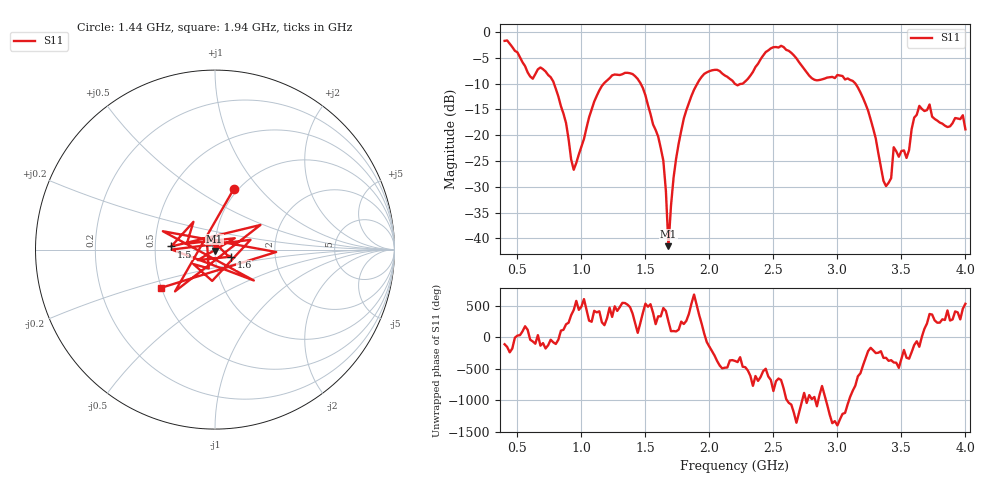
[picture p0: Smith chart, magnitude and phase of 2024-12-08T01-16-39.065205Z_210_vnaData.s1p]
!Created with skrf (http://scikit-rf.org).
# Hz S RI R 50.0
!freq ReS11 ImS11
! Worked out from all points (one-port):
!   181 points, 400 MHz to 4 GHz, reference 50 ohm
!   lowest |S11| = -41.5 dB at 1.68 GHz (marker M1), VSWR 1.02, Z = 49.8 - j0.804 ohm
!   |S11| at or under -10 dB: 786.2 MHz to 1.174 GHz (388.1 MHz wide, 39.6 % of centre); 1.463 GHz to 1.905 GHz (441.9 MHz wide, 26.2 % of centre); 3.142 GHz to end of sweep (the widest 3 of 4)
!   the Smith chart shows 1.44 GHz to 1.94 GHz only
!   S11 on the Smith chart (normalised r, x): 1.44 GHz: 0.96, +0.73; 1.5 GHz: 0.61, +0.02; 1.6 GHz: 1.19, -0.09; 1.94 GHz: 0.50, -0.25
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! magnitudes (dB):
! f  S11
! 400 MHz  -1.7
! 620 MHz  -9.0
! 760 MHz  -8.7
! 860 MHz  -15.8
! 940 MHz  -26.7
! 1.14 GHz  -11.3
! 1.3 GHz  -8.3
! 1.44 GHz  -9.1
! 1.5 GHz  -12.2
! 1.6 GHz  -20.3
! 1.64 GHz  -24.9
! 1.68 GHz  -41.5
! 1.72 GHz  -28.3
! 1.76 GHz  -21.6
! 1.94 GHz  -8.6
! 2.2 GHz  -10.0
! 2.48 GHz  -3.1
! 2.66 GHz  -4.5
! 2.82 GHz  -9.2
! 3.1 GHz  -9.3
! 3.24 GHz  -15.2
! 3.38 GHz  -29.9
! 3.42 GHz  -28.3
! 3.44 GHz  -22.3
! 3.56 GHz  -22.9
! 3.64 GHz  -14.3
! 3.98 GHz  -16.1
! 4 GHz  -18.9
